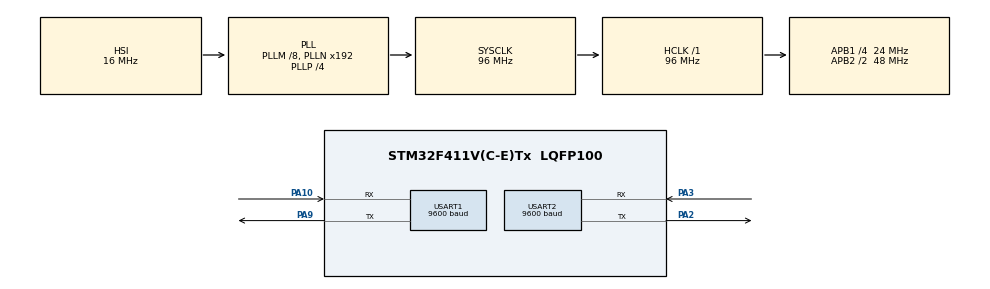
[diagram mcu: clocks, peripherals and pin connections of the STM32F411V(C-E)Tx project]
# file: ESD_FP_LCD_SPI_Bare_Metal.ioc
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Mcu.Family=STM32F4
Mcu.Name=STM32F411V(C-E)Tx
Mcu.Package=LQFP100
NVIC.PriorityGroup=NVIC_PRIORITYGROUP_0
NVIC.USART1_IRQn=true\:0\:0\:false\:false\:true\:true\:true\:true
PA10.Mode=Asynchronous
PA10.Signal=USART1_RX
PA13.Mode=Serial_Wire
PA13.Signal=SYS_JTMS-SWDIO
PA14.Mode=Serial_Wire
PA14.Signal=SYS_JTCK-SWCLK
PA2.Mode=Asynchronous
PA2.Signal=USART2_TX
PA3.Mode=Asynchronous
PA3.Signal=USART2_RX
PA9.Mode=Asynchronous
PA9.Signal=USART1_TX
ProjectManager.HeapSize=0x200
ProjectManager.StackSize=0x400
ProjectManager.TargetToolchain=STM32CubeIDE
RCC.48MHZClocksFreq_Value=48000000
RCC.AHBFreq_Value=96000000
RCC.APB1CLKDivider=RCC_HCLK_DIV4
RCC.APB1Freq_Value=24000000
RCC.APB1TimFreq_Value=48000000
RCC.APB2CLKDivider=RCC_HCLK_DIV2
RCC.APB2Freq_Value=48000000
RCC.APB2TimFreq_Value=96000000
RCC.CortexFreq_Value=96000000
RCC.HCLKFreq_Value=96000000
RCC.HSE_VALUE=8000000
RCC.HSI_VALUE=16000000
RCC.LSE_VALUE=32768
RCC.PLLI2SM=5
RCC.PLLI2SN=200
RCC.PLLM=8
RCC.PLLP=RCC_PLLP_DIV4
RCC.PLLQ=8
RCC.SYSCLKFreq_VALUE=96000000
RCC.SYSCLKSource=RCC_SYSCLKSOURCE_PLLCLK
RCC.VCOOutputFreq_Value=384000000
USART1.BaudRate=9600
USART1.VirtualMode=VM_ASYNC
USART2.BaudRate=9600
USART2.VirtualMode=VM_ASYNC
board=STM32F411E-DISCO

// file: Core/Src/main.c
/* USER CODE BEGIN Header */
/**
  ******************************************************************************
  * @file           : main.c
  * @brief          : Main program body
  ******************************************************************************
  * @attention
  *
  * Copyright (c) 2024 STMicroelectronics.
  * All rights reserved.
  *
  * This software is licensed under terms that can be found in the LICENSE file
  * in the root directory of this software component.
  * If no LICENSE file comes with this software, it is provided AS-IS.
  *
  ******************************************************************************
  */
/* USER CODE END Header */
#include "main.h"

/* USER CODE BEGIN Includes */
#include <stdio.h>
#include <string.h>
#include "stm32f4xx.h"
#include "SPI.h"
#include "utilities.h"
#include "uartRingBuffer.h"
#include "NMEA.h"

/* USER CODE END Includes */

/* USER CODE BEGIN PD */

// Set PB5, PB6, and PB7 using the BSRR register

#define USART_BAUDRATE 9600
#define CLOCK 16000000  // Assume 16 MHz clock for APB2 (for USART1 and USART2)

#define GPIOB_BSRR_SET_DC   (1U << 5)      // Set PB5
#define GPIOB_BSRR_SET_CS   (1U << 6)      // Set PB6
#define GPIOB_BSRR_SET_RST   (1U << 7)      // Set PB7
#define GPIOB_BSRR_SET_PB4   (1U << 4)        // Set PB4 high for Backlight

// Reset PB5, PB6, and PB7 using the BSRR register
#define GPIOB_BSRR_RESET_DC (1U << (5 + 16))  // Reset PB5
#define GPIOB_BSRR_RESET_CS (1U << (6 + 16))  // Reset PB6
#define GPIOB_BSRR_RESET_RST (1U << (7 + 16))  // Reset PB7
#define GPIOB_BSRR_RESET_PB4 (1U << (4 + 16))  // Reset PB4 low for Backlight

/* Control Registers and constant codes */
#define ST7789_NOP     0x00
#define ST7789_SWRESET 0x01
#define ST7789_RDDID   0x04
#define ST7789_RDDST   0x09
#define ST7789_RDDPM   0x0A

#define ST7789_SLPIN   0x10
#define ST7789_SLPOUT  0x11
#define ST7789_PTLON   0x12
#define ST7789_NORON   0x13

#define ST7789_INVOFF  0x20
#define ST7789_INVON   0x21
#define ST7789_DISPOFF 0x28
#define ST7789_DISPON  0x29
#define ST7789_CASET   0x2A
#define ST7789_RASET   0x2B
#define ST7789_RAMWR   0x2C
#define ST7789_RAMRD   0x2E

#define ST7789_PTLAR   0x30
#define ST7789_COLMOD  0x3A
#define ST7789_MADCTL  0x36

#define ST7789_COLOR_MODE_16bit 0x55    //  RGB565 (16bit)

#define WHITE       0xFFFF
#define BLACK       0x0000
#define RED         0xF800

#define ST7789_WIDTH 1000
#define ST7789_HEIGHT 1000
#define X_SHIFT 0
#define Y_SHIFT 0

/* USER CODE END PD */

UART_HandleTypeDef huart1;
UART_HandleTypeDef huart2;

void SystemClock_Config(void);
static void MX_GPIO_Init(void);
static void MX_USART1_UART_Init(void);
static void MX_USART2_UART_Init(void);
/* USER CODE BEGIN PFP */

static const uint16_t Font11x18 [] = {
0x0000, 0x0000, 0x0000, 0x0000, 0x0000, 0x0000, 0x0000, 0x0000, 0x0000, 0x0000, 0x0000, 0x0000, 0x0000, 0x0000, 0x0000, 0x0000, 0x0000, 0x0000,   // sp
0x0000, 0x0C00, 0x0C00, 0x0C00, 0x0C00, 0x0C00, 0x0C00, 0x0C00, 0x0C00, 0x0C00, 0x0C00, 0x0C00, 0x0000, 0x0C00, 0x0C00, 0x0000, 0x0000, 0x0000,   // !
0x0000, 0x1B00, 0x1B00, 0x1B00, 0x1B00, 0x1B00, 0x0000, 0x0000, 0x0000, 0x0000, 0x0000, 0x0000, 0x0000, 0x0000, 0x0000, 0x0000, 0x0000, 0x0000,   // "
0x0000, 0x1980, 0x1980, 0x1980, 0x1980, 0x7FC0, 0x7FC0, 0x1980, 0x3300, 0x7FC0, 0x7FC0, 0x3300, 0x3300, 0x3300, 0x3300, 0x0000, 0x0000, 0x0000,   // #
0x0000, 0x1E00, 0x3F00, 0x7580, 0x6580, 0x7400, 0x3C00, 0x1E00, 0x0700, 0x0580, 0x6580, 0x6580, 0x7580, 0x3F00, 0x1E00, 0x0400, 0x0400, 0x0000,   // $
0x0000, 0x7000, 0xD800, 0xD840, 0xD8C0, 0xD980, 0x7300, 0x0600, 0x0C00, 0x1B80, 0x36C0, 0x66C0, 0x46C0, 0x06C0, 0x0380, 0x0000, 0x0000, 0x0000,   // %
0x0000, 0x1E00, 0x3F00, 0x3300, 0x3300, 0x3300, 0x1E00, 0x0C00, 0x3CC0, 0x66C0, 0x6380, 0x6180, 0x6380, 0x3EC0, 0x1C80, 0x0000, 0x0000, 0x0000,   // &
0x0000, 0x0C00, 0x0C00, 0x0C00, 0x0C00, 0x0C00, 0x0000, 0x0000, 0x0000, 0x0000, 0x0000, 0x0000, 0x0000, 0x0000, 0x0000, 0x0000, 0x0000, 0x0000,   // '
0x0080, 0x0100, 0x0300, 0x0600, 0x0600, 0x0400, 0x0C00, 0x0C00, 0x0C00, 0x0C00, 0x0C00, 0x0C00, 0x0400, 0x0600, 0x0600, 0x0300, 0x0100, 0x0080,   // (
0x2000, 0x1000, 0x1800, 0x0C00, 0x0C00, 0x0400, 0x0600, 0x0600, 0x0600, 0x0600, 0x0600, 0x0600, 0x0400, 0x0C00, 0x0C00, 0x1800, 0x1000, 0x2000,   // )
0x0000, 0x0C00, 0x2D00, 0x3F00, 0x1E00, 0x3300, 0x0000, 0x0000, 0x0000, 0x0000, 0x0000, 0x0000, 0x0000, 0x0000, 0x0000, 0x0000, 0x0000, 0x0000,   // *
0x0000, 0x0000, 0x0000, 0x0C00, 0x0C00, 0x0C00, 0x0C00, 0xFFC0, 0xFFC0, 0x0C00, 0x0C00, 0x0C00, 0x0C00, 0x0000, 0x0000, 0x0000, 0x0000, 0x0000,   // +
0x0000, 0x0000, 0x0000, 0x0000, 0x0000, 0x0000, 0x0000, 0x0000, 0x0000, 0x0000, 0x0000, 0x0000, 0x0000, 0x0C00, 0x0C00, 0x0400, 0x0400, 0x0800,   // ,
0x0000, 0x0000, 0x0000, 0x0000, 0x0000, 0x0000, 0x0000, 0x0000, 0x0000, 0x1E00, 0x1E00, 0x0000, 0x0000, 0x0000, 0x0000, 0x0000, 0x0000, 0x0000,   // -
0x0000, 0x0000, 0x0000, 0x0000, 0x0000, 0x0000, 0x0000, 0x0000, 0x0000, 0x0000, 0x0000, 0x0000, 0x0000, 0x0C00, 0x0C00, 0x0000, 0x0000, 0x0000,   // .
0x0000, 0x0300, 0x0300, 0x0300, 0x0600, 0x0600, 0x0600, 0x0600, 0x0C00, 0x0C00, 0x0C00, 0x0C00, 0x1800, 0x1800, 0x1800, 0x0000, 0x0000, 0x0000,   // /
0x0000, 0x1E00, 0x3F00, 0x3300, 0x6180, 0x6180, 0x6180, 0x6D80, 0x6D80, 0x6180, 0x6180, 0x6180, 0x3300, 0x3F00, 0x1E00, 0x0000, 0x0000, 0x0000,   // 0
0x0000, 0x0600, 0x0E00, 0x1E00, 0x3600, 0x2600, 0x0600, 0x0600, 0x0600, 0x0600, 0x0600, 0x0600, 0x0600, 0x0600, 0x0600, 0x0000, 0x0000, 0x0000,   // 1
0x0000, 0x1E00, 0x3F00, 0x7380, 0x6180, 0x6180, 0x0180, 0x0300, 0x0600, 0x0C00, 0x1800, 0x3000, 0x6000, 0x7F80, 0x7F80, 0x0000, 0x0000, 0x0000,   // 2
0x0000, 0x1C00, 0x3E00, 0x6300, 0x6300, 0x0300, 0x0E00, 0x0E00, 0x0300, 0x0180, 0x0180, 0x6180, 0x7380, 0x3F00, 0x1E00, 0x0000, 0x0000, 0x0000,   // 3
0x0000, 0x0600, 0x0E00, 0x0E00, 0x1E00, 0x1E00, 0x1600, 0x3600, 0x3600, 0x6600, 0x7F80, 0x7F80, 0x0600, 0x0600, 0x0600, 0x0000, 0x0000, 0x0000,   // 4
0x0000, 0x7F00, 0x7F00, 0x6000, 0x6000, 0x6000, 0x6E00, 0x7F00, 0x6380, 0x0180, 0x0180, 0x6180, 0x7380, 0x3F00, 0x1E00, 0x0000, 0x0000, 0x0000,   // 5
0x0000, 0x1E00, 0x3F00, 0x3380, 0x6180, 0x6000, 0x6E00, 0x7F00, 0x7380, 0x6180, 0x6180, 0x6180, 0x3380, 0x3F00, 0x1E00, 0x0000, 0x0000, 0x0000,   // 6
0x0000, 0x7F80, 0x7F80, 0x0180, 0x0300, 0x0300, 0x0600, 0x0600, 0x0C00, 0x0C00, 0x0C00, 0x0800, 0x1800, 0x1800, 0x1800, 0x0000, 0x0000, 0x0000,   // 7
0x0000, 0x1E00, 0x3F00, 0x6380, 0x6180, 0x6180, 0x2100, 0x1E00, 0x3F00, 0x6180, 0x6180, 0x6180, 0x6180, 0x3F00, 0x1E00, 0x0000, 0x0000, 0x0000,   // 8
0x0000, 0x1E00, 0x3F00, 0x7300, 0x6180, 0x6180, 0x6180, 0x7380, 0x3F80, 0x1D80, 0x0180, 0x6180, 0x7300, 0x3F00, 0x1E00, 0x0000, 0x0000, 0x0000,   // 9
0x0000, 0x0000, 0x0000, 0x0000, 0x0000, 0x0C00, 0x0C00, 0x0000, 0x0000, 0x0000, 0x0000, 0x0000, 0x0000, 0x0C00, 0x0C00, 0x0000, 0x0000, 0x0000,   // :
0x0000, 0x0000, 0x0000, 0x0000, 0x0000, 0x0000, 0x0C00, 0x0C00, 0x0000, 0x0000, 0x0000, 0x0000, 0x0000, 0x0C00, 0x0C00, 0x0400, 0x0400, 0x0800,   // ;
0x0000, 0x0000, 0x0000, 0x0000, 0x0080, 0x0380, 0x0E00, 0x3800, 0x6000, 0x3800, 0x0E00, 0x0380, 0x0080, 0x0000, 0x0000, 0x0000, 0x0000, 0x0000,   // <
0x0000, 0x0000, 0x0000, 0x0000, 0x0000, 0x7F80, 0x7F80, 0x0000, 0x0000, 0x7F80, 0x7F80, 0x0000, 0x0000, 0x0000, 0x0000, 0x0000, 0x0000, 0x0000,   // =
0x0000, 0x0000, 0x0000, 0x0000, 0x4000, 0x7000, 0x1C00, 0x0700, 0x0180, 0x0700, 0x1C00, 0x7000, 0x4000, 0x0000, 0x0000, 0x0000, 0x0000, 0x0000,   // >
0x0000, 0x1F00, 0x3F80, 0x71C0, 0x60C0, 0x00C0, 0x01C0, 0x0380, 0x0700, 0x0E00, 0x0C00, 0x0C00, 0x0000, 0x0C00, 0x0C00, 0x0000, 0x0000, 0x0000,   // ?
0x0000, 0x1E00, 0x3F00, 0x3180, 0x7180, 0x6380, 0x6F80, 0x6D80, 0x6D80, 0x6F80, 0x6780, 0x6000, 0x3200, 0x3E00, 0x1C00, 0x0000, 0x0000, 0x0000,   // @
0x0000, 0x0E00, 0x0E00, 0x1B00, 0x1B00, 0x1B00, 0x1B00, 0x3180, 0x3180, 0x3F80, 0x3F80, 0x3180, 0x60C0, 0x60C0, 0x60C0, 0x0000, 0x0000, 0x0000,   // A
0x0000, 0x7C00, 0x7E00, 0x6300, 0x6300, 0x6300, 0x6300, 0x7E00, 0x7E00, 0x6300, 0x6180, 0x6180, 0x6380, 0x7F00, 0x7E00, 0x0000, 0x0000, 0x0000,   // B
0x0000, 0x1E00, 0x3F00, 0x3180, 0x6180, 0x6000, 0x6000, 0x6000, 0x6000, 0x6000, 0x6000, 0x6180, 0x3180, 0x3F00, 0x1E00, 0x0000, 0x0000, 0x0000,   // C
0x0000, 0x7C00, 0x7F00, 0x6300, 0x6380, 0x6180, 0x6180, 0x6180, 0x6180, 0x6180, 0x6180, 0x6300, 0x6300, 0x7E00, 0x7C00, 0x0000, 0x0000, 0x0000,   // D
0x0000, 0x7F80, 0x7F80, 0x6000, 0x6000, 0x6000, 0x6000, 0x7F00, 0x7F00, 0x6000, 0x6000, 0x6000, 0x6000, 0x7F80, 0x7F80, 0x0000, 0x0000, 0x0000,   // E
0x0000, 0x7F80, 0x7F80, 0x6000, 0x6000, 0x6000, 0x6000, 0x7F00, 0x7F00, 0x6000, 0x6000, 0x6000, 0x6000, 0x6000, 0x6000, 0x0000, 0x0000, 0x0000,   // F
0x0000, 0x1E00, 0x3F00, 0x3180, 0x6180, 0x6000, 0x6000, 0x6000, 0x6380, 0x6380, 0x6180, 0x6180, 0x3180, 0x3F80, 0x1E00, 0x0000, 0x0000, 0x0000,   // G
0x0000, 0x6180, 0x6180, 0x6180, 0x6180, 0x6180, 0x6180, 0x7F80, 0x7F80, 0x6180, 0x6180, 0x6180, 0x6180, 0x6180, 0x6180, 0x0000, 0x0000, 0x0000,   // H
0x0000, 0x3F00, 0x3F00, 0x0C00, 0x0C00, 0x0C00, 0x0C00, 0x0C00, 0x0C00, 0x0C00, 0x0C00, 0x0C00, 0x0C00, 0x3F00, 0x3F00, 0x0000, 0x0000, 0x0000,   // I
0x0000, 0x0180, 0x0180, 0x0180, 0x0180, 0x0180, 0x0180, 0x0180, 0x0180, 0x0180, 0x6180, 0x6180, 0x7380, 0x3F00, 0x1E00, 0x0000, 0x0000, 0x0000,   // J
0x0000, 0x60C0, 0x6180, 0x6300, 0x6600, 0x6600, 0x6C00, 0x7800, 0x7C00, 0x6600, 0x6600, 0x6300, 0x6180, 0x6180, 0x60C0, 0x0000, 0x0000, 0x0000,   // K
0x0000, 0x6000, 0x6000, 0x6000, 0x6000, 0x6000, 0x6000, 0x6000, 0x6000, 0x6000, 0x6000, 0x6000, 0x6000, 0x7F80, 0x7F80, 0x0000, 0x0000, 0x0000,   // L
0x0000, 0x71C0, 0x71C0, 0x7BC0, 0x7AC0, 0x6AC0, 0x6AC0, 0x6EC0, 0x64C0, 0x60C0, 0x60C0, 0x60C0, 0x60C0, 0x60C0, 0x60C0, 0x0000, 0x0000, 0x0000,   // M
0x0000, 0x7180, 0x7180, 0x7980, 0x7980, 0x7980, 0x6D80, 0x6D80, 0x6D80, 0x6580, 0x6780, 0x6780, 0x6780, 0x6380, 0x6380, 0x0000, 0x0000, 0x0000,   // N
0x0000, 0x1E00, 0x3F00, 0x3300, 0x6180, 0x6180, 0x6180, 0x6180, 0x6180, 0x6180, 0x6180, 0x6180, 0x3300, 0x3F00, 0x1E00, 0x0000, 0x0000, 0x0000,   // O
0x0000, 0x7E00, 0x7F00, 0x6380, 0x6180, 0x6180, 0x6180, 0x6380, 0x7F00, 0x7E00, 0x6000, 0x6000, 0x6000, 0x6000, 0x6000, 0x0000, 0x0000, 0x0000,   // P
0x0000, 0x1E00, 0x3F00, 0x3300, 0x6180, 0x6180, 0x6180, 0x6180, 0x6180, 0x6180, 0x6580, 0x6780, 0x3300, 0x3F80, 0x1E40, 0x0000, 0x0000, 0x0000,   // Q
0x0000, 0x7E00, 0x7F00, 0x6380, 0x6180, 0x6180, 0x6380, 0x7F00, 0x7E00, 0x6600, 0x6300, 0x6300, 0x6180, 0x6180, 0x60C0, 0x0000, 0x0000, 0x0000,   // R
0x0000, 0x0E00, 0x1F00, 0x3180, 0x3180, 0x3000, 0x3800, 0x1E00, 0x0700, 0x0380, 0x6180, 0x6180, 0x3180, 0x3F00, 0x1E00, 0x0000, 0x0000, 0x0000,   // S
0x0000, 0xFFC0, 0xFFC0, 0x0C00, 0x0C00, 0x0C00, 0x0C00, 0x0C00, 0x0C00, 0x0C00, 0x0C00, 0x0C00, 0x0C00, 0x0C00, 0x0C00, 0x0000, 0x0000, 0x0000,   // T
0x0000, 0x6180, 0x6180, 0x6180, 0x6180, 0x6180, 0x6180, 0x6180, 0x6180, 0x6180, 0x6180, 0x6180, 0x7380, 0x3F00, 0x1E00, 0x0000, 0x0000, 0x0000,   // U
0x0000, 0x60C0, 0x60C0, 0x60C0, 0x3180, 0x3180, 0x3180, 0x1B00, 0x1B00, 0x1B00, 0x1B00, 0x0E00, 0x0E00, 0x0E00, 0x0400, 0x0000, 0x0000, 0x0000,   // V
0x0000, 0xC0C0, 0xC0C0, 0xC0C0, 0xC0C0, 0xC0C0, 0xCCC0, 0x4C80, 0x4C80, 0x5E80, 0x5280, 0x5280, 0x7380, 0x6180, 0x6180, 0x0000, 0x0000, 0x0000,   // W
0x0000, 0xC0C0, 0x6080, 0x6180, 0x3300, 0x3B00, 0x1E00, 0x0C00, 0x0C00, 0x1E00, 0x1F00, 0x3B00, 0x7180, 0x6180, 0xC0C0, 0x0000, 0x0000, 0x0000,   // X
0x0000, 0xC0C0, 0x6180, 0x6180, 0x3300, 0x3300, 0x1E00, 0x1E00, 0x0C00, 0x0C00, 0x0C00, 0x0C00, 0x0C00, 0x0C00, 0x0C00, 0x0000, 0x0000, 0x0000,   // Y
0x0000, 0x3F80, 0x3F80, 0x0180, 0x0300, 0x0300, 0x0600, 0x0C00, 0x0C00, 0x1800, 0x1800, 0x3000, 0x6000, 0x7F80, 0x7F80, 0x0000, 0x0000, 0x0000,   // Z
0x0F00, 0x0F00, 0x0C00, 0x0C00, 0x0C00, 0x0C00, 0x0C00, 0x0C00, 0x0C00, 0x0C00, 0x0C00, 0x0C00, 0x0C00, 0x0C00, 0x0C00, 0x0C00, 0x0F00, 0x0F00,   // [
0x0000, 0x1800, 0x1800, 0x1800, 0x0C00, 0x0C00, 0x0C00, 0x0C00, 0x0600, 0x0600, 0x0600, 0x0600, 0x0300, 0x0300, 0x0300, 0x0000, 0x0000, 0x0000,   /* \ */
0x1E00, 0x1E00, 0x0600, 0x0600, 0x0600, 0x0600, 0x0600, 0x0600, 0x0600, 0x0600, 0x0600, 0x0600, 0x0600, 0x0600, 0x0600, 0x0600, 0x1E00, 0x1E00,   // ]
0x0000, 0x0C00, 0x0C00, 0x1E00, 0x1200, 0x3300, 0x3300, 0x6180, 0x6180, 0x0000, 0x0000, 0x0000, 0x0000, 0x0000, 0x0000, 0x0000, 0x0000, 0x0000,   // ^
0x0000, 0x0000, 0x0000, 0x0000, 0x0000, 0x0000, 0x0000, 0x0000, 0x0000, 0x0000, 0x0000, 0x0000, 0x0000, 0x0000, 0x0000, 0x0000, 0xFFE0, 0x0000,   // _
0x0000, 0x3800, 0x1800, 0x0C00, 0x0000, 0x0000, 0x0000, 0x0000, 0x0000, 0x0000, 0x0000, 0x0000, 0x0000, 0x0000, 0x0000, 0x0000, 0x0000, 0x0000,   // `
0x0000, 0x0000, 0x0000, 0x0000, 0x0000, 0x1F00, 0x3F80, 0x6180, 0x0180, 0x1F80, 0x3F80, 0x6180, 0x6380, 0x7F80, 0x38C0, 0x0000, 0x0000, 0x0000,   // a
0x0000, 0x6000, 0x6000, 0x6000, 0x6000, 0x6E00, 0x7F00, 0x7380, 0x6180, 0x6180, 0x6180, 0x6180, 0x7380, 0x7F00, 0x6E00, 0x0000, 0x0000, 0x0000,   // b
0x0000, 0x0000, 0x0000, 0x0000, 0x0000, 0x1E00, 0x3F00, 0x7380, 0x6180, 0x6000, 0x6000, 0x6180, 0x7380, 0x3F00, 0x1E00, 0x0000, 0x0000, 0x0000,   // c
0x0000, 0x0180, 0x0180, 0x0180, 0x0180, 0x1D80, 0x3F80, 0x7380, 0x6180, 0x6180, 0x6180, 0x6180, 0x7380, 0x3F80, 0x1D80, 0x0000, 0x0000, 0x0000,   // d
0x0000, 0x0000, 0x0000, 0x0000, 0x0000, 0x1E00, 0x3F00, 0x7300, 0x6180, 0x7F80, 0x7F80, 0x6000, 0x7180, 0x3F00, 0x1E00, 0x0000, 0x0000, 0x0000,   // e
0x0000, 0x07C0, 0x0FC0, 0x0C00, 0x0C00, 0x7F80, 0x7F80, 0x0C00, 0x0C00, 0x0C00, 0x0C00, 0x0C00, 0x0C00, 0x0C00, 0x0C00, 0x0000, 0x0000, 0x0000,   // f
0x0000, 0x0000, 0x0000, 0x0000, 0x1D80, 0x3F80, 0x7380, 0x6180, 0x6180, 0x6180, 0x6180, 0x7380, 0x3F80, 0x1D80, 0x0180, 0x6380, 0x7F00, 0x3E00,   // g
0x0000, 0x6000, 0x6000, 0x6000, 0x6000, 0x6F00, 0x7F80, 0x7180, 0x6180, 0x6180, 0x6180, 0x6180, 0x6180, 0x6180, 0x6180, 0x0000, 0x0000, 0x0000,   // h
0x0000, 0x0600, 0x0600, 0x0000, 0x0000, 0x3E00, 0x3E00, 0x0600, 0x0600, 0x0600, 0x0600, 0x0600, 0x0600, 0x0600, 0x0600, 0x0000, 0x0000, 0x0000,   // i
0x0600, 0x0600, 0x0000, 0x0000, 0x3E00, 0x3E00, 0x0600, 0x0600, 0x0600, 0x0600, 0x0600, 0x0600, 0x0600, 0x0600, 0x0600, 0x4600, 0x7E00, 0x3C00,   // j
0x0000, 0x6000, 0x6000, 0x6000, 0x6000, 0x6180, 0x6300, 0x6600, 0x6C00, 0x7C00, 0x7600, 0x6300, 0x6300, 0x6180, 0x60C0, 0x0000, 0x0000, 0x0000,   // k
0x0000, 0x3E00, 0x3E00, 0x0600, 0x0600, 0x0600, 0x0600, 0x0600, 0x0600, 0x0600, 0x0600, 0x0600, 0x0600, 0x0600, 0x0600, 0x0000, 0x0000, 0x0000,   // l
0x0000, 0x0000, 0x0000, 0x0000, 0x0000, 0xDD80, 0xFFC0, 0xCEC0, 0xCCC0, 0xCCC0, 0xCCC0, 0xCCC0, 0xCCC0, 0xCCC0, 0xCCC0, 0x0000, 0x0000, 0x0000,   // m
0x0000, 0x0000, 0x0000, 0x0000, 0x0000, 0x6F00, 0x7F80, 0x7180, 0x6180, 0x6180, 0x6180, 0x6180, 0x6180, 0x6180, 0x6180, 0x0000, 0x0000, 0x0000,   // n
0x0000, 0x0000, 0x0000, 0x0000, 0x0000, 0x1E00, 0x3F00, 0x7380, 0x6180, 0x6180, 0x6180, 0x6180, 0x7380, 0x3F00, 0x1E00, 0x0000, 0x0000, 0x0000,   // o
0x0000, 0x0000, 0x0000, 0x0000, 0x6E00, 0x7F00, 0x7380, 0x6180, 0x6180, 0x6180, 0x6180, 0x7380, 0x7F00, 0x6E00, 0x6000, 0x6000, 0x6000, 0x6000,   // p
0x0000, 0x0000, 0x0000, 0x0000, 0x1D80, 0x3F80, 0x7380, 0x6180, 0x6180, 0x6180, 0x6180, 0x7380, 0x3F80, 0x1D80, 0x0180, 0x0180, 0x0180, 0x0180,   // q
0x0000, 0x0000, 0x0000, 0x0000, 0x0000, 0x6700, 0x3F80, 0x3900, 0x3000, 0x3000, 0x3000, 0x3000, 0x3000, 0x3000, 0x3000, 0x0000, 0x0000, 0x0000,   // r
0x0000, 0x0000, 0x0000, 0x0000, 0x0000, 0x1E00, 0x3F80, 0x6180, 0x6000, 0x7F00, 0x3F80, 0x0180, 0x6180, 0x7F00, 0x1E00, 0x0000, 0x0000, 0x0000,   // s
0x0000, 0x0000, 0x0800, 0x1800, 0x1800, 0x7F00, 0x7F00, 0x1800, 0x1800, 0x1800, 0x1800, 0x1800, 0x1800, 0x1F80, 0x0F80, 0x0000, 0x0000, 0x0000,   // t
0x0000, 0x0000, 0x0000, 0x0000, 0x0000, 0x6180, 0x6180, 0x6180, 0x6180, 0x6180, 0x6180, 0x6180, 0x6380, 0x7F80, 0x3D80, 0x0000, 0x0000, 0x0000,   // u
0x0000, 0x0000, 0x0000, 0x0000, 0x0000, 0x60C0, 0x3180, 0x3180, 0x3180, 0x1B00, 0x1B00, 0x1B00, 0x0E00, 0x0E00, 0x0600, 0x0000, 0x0000, 0x0000,   // v
0x0000, 0x0000, 0x0000, 0x0000, 0x0000, 0xDD80, 0xDD80, 0xDD80, 0x5500, 0x5500, 0x5500, 0x7700, 0x7700, 0x2200, 0x2200, 0x0000, 0x0000, 0x0000,   // w
0x0000, 0x0000, 0x0000, 0x0000, 0x0000, 0x6180, 0x3300, 0x3300, 0x1E00, 0x0C00, 0x0C00, 0x1E00, 0x3300, 0x3300, 0x6180, 0x0000, 0x0000, 0x0000,   // x
0x0000, 0x0000, 0x0000, 0x0000, 0x6180, 0x6180, 0x3180, 0x3300, 0x3300, 0x1B00, 0x1B00, 0x1B00, 0x0E00, 0x0E00, 0x0E00, 0x1C00, 0x7C00, 0x7000,   // y
0x0000, 0x0000, 0x0000, 0x0000, 0x0000, 0x7FC0, 0x7FC0, 0x0180, 0x0300, 0x0600, 0x0C00, 0x1800, 0x3000, 0x7FC0, 0x7FC0, 0x0000, 0x0000, 0x0000,   // z
0x0380, 0x0780, 0x0600, 0x0600, 0x0600, 0x0600, 0x0600, 0x0E00, 0x1C00, 0x1C00, 0x0E00, 0x0600, 0x0600, 0x0600, 0x0600, 0x0600, 0x0780, 0x0380,   // {
0x0600, 0x0600, 0x0600, 0x0600, 0x0600, 0x0600, 0x0600, 0x0600, 0x0600, 0x0600, 0x0600, 0x0600, 0x0600, 0x0600, 0x0600, 0x0600, 0x0600, 0x0600,   // |
0x3800, 0x3C00, 0x0C00, 0x0C00, 0x0C00, 0x0C00, 0x0C00, 0x0E00, 0x0700, 0x0700, 0x0E00, 0x0C00, 0x0C00, 0x0C00, 0x0C00, 0x0C00, 0x3C00, 0x3800,   // }
0x0000, 0x0000, 0x0000, 0x0000, 0x0000, 0x0000, 0x0000, 0x3880, 0x7F80, 0x4700, 0x0000, 0x0000, 0x0000, 0x0000, 0x0000, 0x0000, 0x0000, 0x0000,   // ~
};

typedef struct {
    const uint8_t width;
    uint8_t height;
    const uint16_t *data;
} FontDef;

FontDef Font_11x18 = {11, 18, Font11x18};

/* USER CODE END PFP */

/* USER CODE BEGIN 0 */

char GGA[100];
char RMC[100];

GPSSTRUCT gpsData;

int flagGGA = 0, flagRMC = 0;
char lcdBuffer [50];

int VCCTimeout = 5000; // GGA or RMC will not be received if the VCC is not sufficient

void st7789_spi_init()
{
    SPI_INIT();

    RCC->AHB1ENR |= RCC_AHB1ENR_GPIOBEN; // Enable GPIOB clock for Pins PB4 (BL), PB5 (DC), PB6 (CS), and PB7 (RST)

    /* Configure DC, RST, CS, and BL pins */
    GPIOB->MODER &= ~(GPIO_MODER_MODE5_Msk | GPIO_MODER_MODE6_Msk | GPIO_MODER_MODE7_Msk | GPIO_MODER_MODE4_Msk);
    // Clear the mode bits for PB4, PB5, PB6, and PB7

    GPIOB->MODER |= (GPIO_MODER_MODE5_0 | GPIO_MODER_MODE6_0 | GPIO_MODER_MODE7_0 | GPIO_MODER_MODE4_0);
    // Set PB4, PB5, PB6, and PB7 to output mode (01)
}

static void ST7789_WriteCommand(uint8_t cmd)
{
	GPIOB->BSRR = GPIOB_BSRR_RESET_DC; // DC Low indicating Command
	GPIOB->BSRR = GPIOB_BSRR_RESET_CS; // Chip Select Low
	SPI_TX_MULTI(&cmd,  1);
	GPIOB->BSRR = GPIOB_BSRR_SET_CS; // Chip Select High
}

static void ST7789_WriteData(uint8_t *buff, uint32_t buff_size)
{
	GPIOB->BSRR = GPIOB_BSRR_SET_DC;
	GPIOB->BSRR = GPIOB_BSRR_RESET_CS; // Chip Select Low
	SPI_TX_MULTI(buff, buff_size);
	GPIOB->BSRR = GPIOB_BSRR_SET_CS; // Chip Select High
}

static void ST7789_WriteSmallData(uint8_t data)
{
	GPIOB->BSRR = GPIOB_BSRR_SET_DC; // DC High indicating Data
	GPIOB->BSRR = GPIOB_BSRR_RESET_CS; // Chip Select Low
	SPI_TX_MULTI(&data, 1);
	GPIOB->BSRR = GPIOB_BSRR_SET_CS; // Chip Select High
}

static void ST7789_SetAddressWindow(uint16_t x0, uint16_t y0, uint16_t x1, uint16_t y1)
{
	uint16_t x_start = x0 + X_SHIFT, x_end = x1 + X_SHIFT;
	uint16_t y_start = y0 + Y_SHIFT, y_end = y1 + Y_SHIFT;

	/* Column Address set */
	ST7789_WriteCommand(ST7789_CASET);
	{
		uint8_t data[] = {x_start >> 8, x_start & 0xFF, x_end >> 8, x_end & 0xFF};
		ST7789_WriteData(data, sizeof(data));
	}

	/* Row Address set */
	ST7789_WriteCommand(ST7789_RASET);
	{
		uint8_t data[] = {y_start >> 8, y_start & 0xFF, y_end >> 8, y_end & 0xFF};
		ST7789_WriteData(data, sizeof(data));
	}
	/* Write to RAM */
	ST7789_WriteCommand(ST7789_RAMWR);
}

void ST7789_Fill_Color(uint16_t color)
{
	uint16_t i;
	ST7789_SetAddressWindow(0, 0, ST7789_WIDTH - 1, ST7789_HEIGHT - 1);

	uint16_t j;
	for (i = 0; i < ST7789_WIDTH; i++)
			for (j = 0; j < ST7789_HEIGHT; j++) {
				uint8_t data[] = {color >> 8, color & 0xFF};
				ST7789_WriteData(data, sizeof(data));
			}

}

void ST7789_WriteChar(uint16_t x, uint16_t y, char ch, FontDef font, uint16_t color, uint16_t bgcolor)
{
	uint32_t i, b, j;

	ST7789_SetAddressWindow(x, y, x + font.width - 1, y + font.height - 1);

	for (i = 0; i < font.height; i++) {
		b = font.data[(ch - 32) * font.height + i];
		for (j = 0; j < font.width; j++) {
			if ((b << j) & 0x8000) {
				uint8_t data[] = {color >> 8, color & 0xFF};
				ST7789_WriteData(data, sizeof(data));
			}
			else {
				uint8_t data[] = {bgcolor >> 8, bgcolor & 0xFF};
				ST7789_WriteData(data, sizeof(data));
			}
		}
	}

}

void ST7789_WriteString(uint16_t x, uint16_t y, const char *str, FontDef font, uint16_t color, uint16_t bgcolor)
{

	while (*str) {
		if (x + font.width >= ST7789_WIDTH) {
			x = 0;
			y += font.height;
			if (y + font.height >= ST7789_HEIGHT) {
				break;
			}

			if (*str == ' ') {
				// skip spaces in the beginning of the new line
				str++;
				continue;
			}
		}
		ST7789_WriteChar(x, y, *str, font, color, bgcolor);
		x += font.width;
		str++;
	}

}

/**
 * @brief Initialize ST7789 controller
 * @param none
 * @return none
 */
void ST7789_Init(void)
{
	st7789_spi_init();
	HAL_Delay(25);
	GPIOB->BSRR = GPIOB_BSRR_RESET_RST;
	HAL_Delay(50);
	GPIOB->BSRR = GPIOB_BSRR_SET_RST;
    HAL_Delay(50);
    ST7789_WriteCommand(ST7789_SWRESET);
    HAL_Delay(100);
    ST7789_WriteCommand(ST7789_COLMOD);		//	Set color mode
    ST7789_WriteSmallData(ST7789_COLOR_MODE_16bit);
  	ST7789_WriteCommand(0xB2);				//	Porch control
	uint8_t data[] = {0x0C, 0x0C, 0x00, 0x33, 0x33};
	ST7789_WriteData(data, sizeof(data));

	/* Internal LCD Voltage generator settings */
    ST7789_WriteCommand(0XB7);				//	Gate Control
    ST7789_WriteSmallData(0x35);			//	Default value
    ST7789_WriteCommand(0xBB);				//	VCOM setting
    ST7789_WriteSmallData(0x20);			//	0.725v (default 0.75v for 0x20)
    ST7789_WriteCommand(0xC0);				//	LCMCTRL
    ST7789_WriteSmallData (0x2C);			//	Default value
    ST7789_WriteCommand (0xC2);				//	VDV and VRH command Enable
    ST7789_WriteSmallData (0x01);			//	Default value
    ST7789_WriteCommand (0xC3);				//	VRH set
    ST7789_WriteSmallData (0x0b);			//	+-4.45v (defalut +-4.1v for 0x0B)
    ST7789_WriteCommand (0xC4);				//	VDV set
    ST7789_WriteSmallData (0x20);			//	Default value
    ST7789_WriteCommand (0xC6);				//	Frame rate control in normal mode
    ST7789_WriteSmallData (0x0F);			//	Default value (60HZ)
    ST7789_WriteCommand (0xD0);				//	Power control
    ST7789_WriteSmallData (0xA4);			//	Default value
    ST7789_WriteSmallData (0xA1);			//	Default value
	/**************** Division line ****************/

	ST7789_WriteCommand(0xE0);
	{
		uint8_t data[] = {0xD0, 0x04, 0x0D, 0x11, 0x13, 0x2B, 0x3F, 0x54, 0x4C, 0x18, 0x0D, 0x0B, 0x1F, 0x23};
		ST7789_WriteData(data, sizeof(data));
	}

    ST7789_WriteCommand(0xE1);
	{
		uint8_t data[] = {0xD0, 0x04, 0x0C, 0x11, 0x13, 0x2C, 0x3F, 0x44, 0x51, 0x2F, 0x1F, 0x1F, 0x20, 0x23};
		ST7789_WriteData(data, sizeof(data));
	}
    ST7789_WriteCommand (ST7789_INVON);		//	Inversion ON
	ST7789_WriteCommand (ST7789_SLPOUT);	//	Out of sleep mode
  	ST7789_WriteCommand (ST7789_NORON);		//	Normal Display on
  	ST7789_WriteCommand (ST7789_DISPON);	//	Main screen turned on

  	HAL_Delay(120);

  	GPIOB->BSRR = GPIOB_BSRR_SET_PB4;  // Set PB4 high

  	HAL_Delay(50);
	ST7789_Fill_Color(RED);				//	Fill with Black.
}

void parse_gps_output()
{
	  if (Wait_for("GGA") == 1)
	  {
		  VCCTimeout = 5000;  // Reset the VCC Timeout indicating the GGA is being received

		  Copy_upto("*", GGA);
		  if (decodeGGA(GGA, &gpsData.ggastruct) == 0) flagGGA = 2;  // 2 indicates the data is valid
		  else flagGGA = 1;  // 1 indicates the data is invalid
	  }

	  if ((flagGGA == 2) | (flagRMC == 2))
	  {
		  memset(lcdBuffer, '\0', 50);
		  //lcd_put_cur(1, 0);
		  sprintf (lcdBuffer, "%.2f%c, %.2f%c  ", gpsData.ggastruct.lcation.latitude, gpsData.ggastruct.lcation.NS,\
				  gpsData.ggastruct.lcation.longitude, gpsData.ggastruct.lcation.EW);
		  HAL_UART_Transmit(&huart2, (uint8_t*)lcdBuffer, sizeof(lcdBuffer) , -1);
		  ST7789_WriteString(10, 20, &lcdBuffer, Font_11x18, RED, WHITE);
//	 		  lcd_send_string(lcdBuffer);
	  }
//	  return lcdBuffer;
}

//void USART_Init(void) {
//    // Enable clocks for GPIOA and GPIOB (USART1 and USART2 TX/RX pins)
//    RCC->AHB1ENR |= RCC_AHB1ENR_GPIOAEN | RCC_AHB1ENR_GPIOBEN;
//
//    // Enable clocks for USART1 and USART2
//    RCC->APB2ENR |= RCC_APB2ENR_USART1EN; // USART1 on APB2
//    RCC->APB1ENR |= RCC_APB1ENR_USART2EN; // USART2 on APB1
//
//    /* GPIO Configuration for USART1 (PA9: TX, PA10: RX) */
//    GPIOA->MODER &= ~(GPIO_MODER_MODE9_Msk | GPIO_MODER_MODE10_Msk); // Clear mode bits
//    GPIOA->MODER |= (GPIO_MODER_MODE9_1 | GPIO_MODER_MODE10_1);      // Alternate function mode
//    GPIOA->AFR[1] |= (7 << (1 * 4)) | (7 << (2 * 4));                // AF7 (USART1) for PA9 and PA10
//
//    /* GPIO Configuration for USART2 (PA2: TX, PA3: RX) */
//    GPIOA->MODER &= ~(GPIO_MODER_MODE2_Msk | GPIO_MODER_MODE3_Msk); // Clear mode bits
//    GPIOA->MODER |= (GPIO_MODER_MODE2_1 | GPIO_MODER_MODE3_1);      // Alternate function mode
//    GPIOA->AFR[0] |= (7 << (2 * 4)) | (7 << (3 * 4));                // AF7 (USART2) for PA2 and PA3
//
//    /* USART1 Configuration */
//    USART1->BRR = CLOCK / USART_BAUDRATE; // Set baud rate for USART1
//    USART1->CR1 = USART_CR1_TE | USART_CR1_RE; // Enable transmitter and receiver
//    USART1->CR1 |= USART_CR1_UE;               // Enable USART1
//
//    /* USART2 Configuration */
//    USART2->BRR = CLOCK / USART_BAUDRATE; // Set baud rate for USART2
//    USART2->CR1 = USART_CR1_TE | USART_CR1_RE; // Enable transmitter and receiver
//    USART2->CR1 |= USART_CR1_UE;               // Enable USART2
//}

/* USER CODE END 0 */

int main(void)
{

  /* MCU Configuration--------------------------------------------------------*/

  /* Reset of all peripherals, Initializes the Flash interface and the Systick. */
  HAL_Init();

  /* Configure the system clock */
  SystemClock_Config();

  /* Initialize all configured peripherals */
  MX_GPIO_Init();
  MX_USART1_UART_Init();
  MX_USART2_UART_Init();
  /* USER CODE BEGIN 2 */
  ST7789_Init();
  Ringbuf_init();
  HAL_Delay (500);
//  USART_Init();  // Initialize USART1 and USART2

  /* USER CODE END 2 */

  /* Infinite loop */
  /* USER CODE BEGIN WHILE */
  const char name[]="Hi esd project";
  ST7789_WriteString(10, 20, &name, Font_11x18, RED, WHITE);
  while (1)
  {
    /* USER CODE END WHILE */
	//parse_gps_output();

  }
}

void SystemClock_Config(void)
{
  RCC_OscInitTypeDef RCC_OscInitStruct = {0};
  RCC_ClkInitTypeDef RCC_ClkInitStruct = {0};

  /** Configure the main internal regulator output voltage
  */
  __HAL_RCC_PWR_CLK_ENABLE();
  __HAL_PWR_VOLTAGESCALING_CONFIG(PWR_REGULATOR_VOLTAGE_SCALE1);

  /** Initializes the RCC Oscillators according to the specified parameters
  * in the RCC_OscInitTypeDef structure.
  */
  RCC_OscInitStruct.OscillatorType = RCC_OSCILLATORTYPE_HSI;
  RCC_OscInitStruct.HSIState = RCC_HSI_ON;
  RCC_OscInitStruct.HSICalibrationValue = RCC_HSICALIBRATION_DEFAULT;
  RCC_OscInitStruct.PLL.PLLState = RCC_PLL_ON;
  RCC_OscInitStruct.PLL.PLLSource = RCC_PLLSOURCE_HSI;
  RCC_OscInitStruct.PLL.PLLM = 8;
  RCC_OscInitStruct.PLL.PLLN = 192;
  RCC_OscInitStruct.PLL.PLLP = RCC_PLLP_DIV4;
  RCC_OscInitStruct.PLL.PLLQ = 8;
  if (HAL_RCC_OscConfig(&RCC_OscInitStruct) != HAL_OK)
  {
    Error_Handler();
  }

  /** Initializes the CPU, AHB and APB buses clocks
  */
  RCC_ClkInitStruct.ClockType = RCC_CLOCKTYPE_HCLK|RCC_CLOCKTYPE_SYSCLK
                              |RCC_CLOCKTYPE_PCLK1|RCC_CLOCKTYPE_PCLK2;
  RCC_ClkInitStruct.SYSCLKSource = RCC_SYSCLKSOURCE_PLLCLK;
  RCC_ClkInitStruct.AHBCLKDivider = RCC_SYSCLK_DIV1;
  RCC_ClkInitStruct.APB1CLKDivider = RCC_HCLK_DIV4;
  RCC_ClkInitStruct.APB2CLKDivider = RCC_HCLK_DIV2;

  if (HAL_RCC_ClockConfig(&RCC_ClkInitStruct, FLASH_LATENCY_3) != HAL_OK)
  {
    Error_Handler();
  }
}

static void MX_USART1_UART_Init(void)
{

  huart1.Instance = USART1;
  huart1.Init.BaudRate = 9600;
  huart1.Init.WordLength = UART_WORDLENGTH_8B;
  huart1.Init.StopBits = UART_STOPBITS_1;
  huart1.Init.Parity = UART_PARITY_NONE;
  huart1.Init.Mode = UART_MODE_TX_RX;
  huart1.Init.HwFlowCtl = UART_HWCONTROL_NONE;
  huart1.Init.OverSampling = UART_OVERSAMPLING_16;
  if (HAL_UART_Init(&huart1) != HAL_OK)
  {
    Error_Handler();
  }

}

static void MX_USART2_UART_Init(void)
{

  huart2.Instance = USART2;
  huart2.Init.BaudRate = 9600;
  huart2.Init.WordLength = UART_WORDLENGTH_8B;
  huart2.Init.StopBits = UART_STOPBITS_1;
  huart2.Init.Parity = UART_PARITY_NONE;
  huart2.Init.Mode = UART_MODE_TX_RX;
  huart2.Init.HwFlowCtl = UART_HWCONTROL_NONE;
  huart2.Init.OverSampling = UART_OVERSAMPLING_16;
  if (HAL_UART_Init(&huart2) != HAL_OK)
  {
    Error_Handler();
  }

}

static void MX_GPIO_Init(void)
{

  /* GPIO Ports Clock Enable */
  __HAL_RCC_GPIOA_CLK_ENABLE();

}

void Error_Handler(void)
{
  __disable_irq();
  while (1)
  {
  }
}
